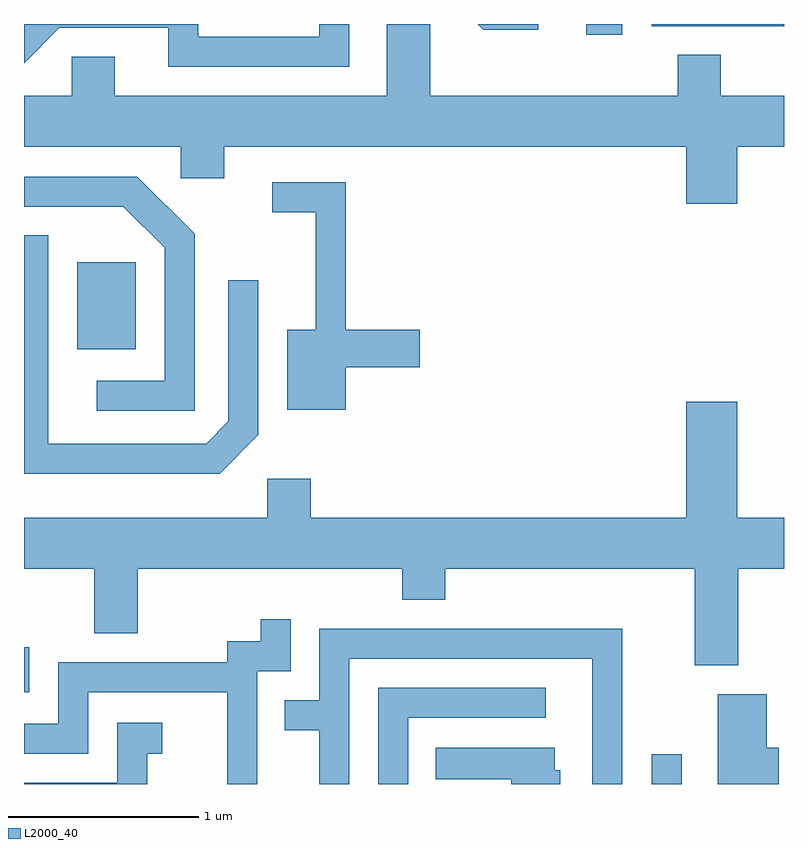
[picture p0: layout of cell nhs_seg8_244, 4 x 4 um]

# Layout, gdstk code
import gdstk
lib = gdstk.Library(unit=1e-6, precision=1e-09)
def R(c, l, rs):  # rectangles x0, y0, x1, y1
    for r in rs: c.add(gdstk.rectangle(r[:2], r[2:], *l))
def P(c, l, *ps):  # polygons
    for p in ps: c.add(gdstk.Polygon(p, *l))
L2000_40 = (2000, 40)

nhs_seg8_244 = lib.new_cell('nhs_seg8_244')
R(nhs_seg8_244, L2000_40, [(194.916,1886.342,195.074,1886.498), (191.611,1886.826,191.639,1887.063), (191.891,1888.631,192.199,1889.089), (194.571,1890.286,194.759,1890.342), (194.916,1890.331,195.611,1890.342)])
P(nhs_seg8_244, L2000_40, [(195.364,1889.696),(195.611,1889.696),(195.611,1889.964),(195.279,1889.964),(195.279,1890.179),(195.051,1890.179),(195.051,1889.964),(193.749,1889.964),(193.749,1890.342),(193.521,1890.342),(193.521,1889.964),(192.089,1889.964),(192.089,1890.169),(191.861,1890.169),(191.861,1889.964),(191.611,1889.964),(191.611,1889.696),(192.436,1889.696),(192.436,1889.531),(192.664,1889.531),(192.664,1889.696),(195.096,1889.696),(195.096,1889.396),(195.364,1889.396)],
  [(193.324,1890.342),(193.166,1890.342),(193.166,1890.274),(192.529,1890.274),(192.529,1890.342),(191.611,1890.342),(191.611,1890.135),(191.797,1890.321),(192.371,1890.321),(192.371,1890.116),(193.324,1890.116)],
  [(194.318,1890.342),(193.998,1890.342),(194.029,1890.311),(194.318,1890.311)],
  [(192.509,1889.237),(192.207,1889.539),(191.611,1889.539),(191.611,1889.381),(192.134,1889.381),(192.351,1889.164),(192.351,1888.464),(191.993,1888.464),(191.993,1888.306),(192.509,1888.306)],
  [(193.304,1888.536),(193.694,1888.536),(193.694,1888.734),(193.304,1888.734),(193.304,1889.509),(192.918,1889.509),(192.918,1889.351),(193.146,1889.351),(193.146,1888.734),(192.996,1888.734),(192.996,1888.311),(193.304,1888.311)],
  [(192.844,1888.179),(192.844,1888.993),(192.686,1888.993),(192.686,1888.252),(192.569,1888.134),(191.739,1888.134),(191.739,1889.229),(191.611,1889.229),(191.611,1887.976),(192.642,1887.976)],
  [(195.369,1887.476),(195.611,1887.476),(195.611,1887.744),(195.364,1887.744),(195.364,1888.354),(195.096,1888.354),(195.096,1887.744),(193.119,1887.744),(193.119,1887.949),(192.891,1887.949),(192.891,1887.744),(191.611,1887.744),(191.611,1887.476),(191.981,1887.476),(191.981,1887.136),(192.209,1887.136),(192.209,1887.476),(193.601,1887.476),(193.601,1887.311),(193.829,1887.311),(193.829,1887.476),(195.141,1887.476),(195.141,1886.966),(195.369,1886.966)],
  [(192.839,1886.936),(193.014,1886.936),(193.014,1887.208),(192.856,1887.208),(192.856,1887.094),(192.681,1887.094),(192.681,1886.984),(191.791,1886.984),(191.791,1886.659),(191.611,1886.659),(191.611,1886.501),(191.949,1886.501),(191.949,1886.826),(192.681,1886.826),(192.681,1886.342),(192.839,1886.342)],
  [(193.324,1887.001),(194.601,1887.001),(194.601,1886.342),(194.759,1886.342),(194.759,1887.159),(193.166,1887.159),(193.166,1886.784),(192.983,1886.784),(192.983,1886.626),(193.166,1886.626),(193.166,1886.342),(193.324,1886.342)],
  [(193.634,1886.691),(194.358,1886.691),(194.358,1886.849),(193.476,1886.849),(193.476,1886.342),(193.634,1886.342)],
  [(195.584,1886.534),(195.519,1886.534),(195.519,1886.814),(195.261,1886.814),(195.261,1886.342),(195.584,1886.342)],
  [(192.259,1886.501),(192.338,1886.501),(192.338,1886.664),(192.101,1886.664),(192.101,1886.349),(191.611,1886.349),(191.611,1886.342),(192.259,1886.342)],
  [(194.434,1886.414),(194.404,1886.414),(194.404,1886.534),(193.778,1886.534),(193.778,1886.366),(194.176,1886.366),(194.176,1886.342),(194.434,1886.342)])

lib.write_gds('nhs_seg8_244.gds')
